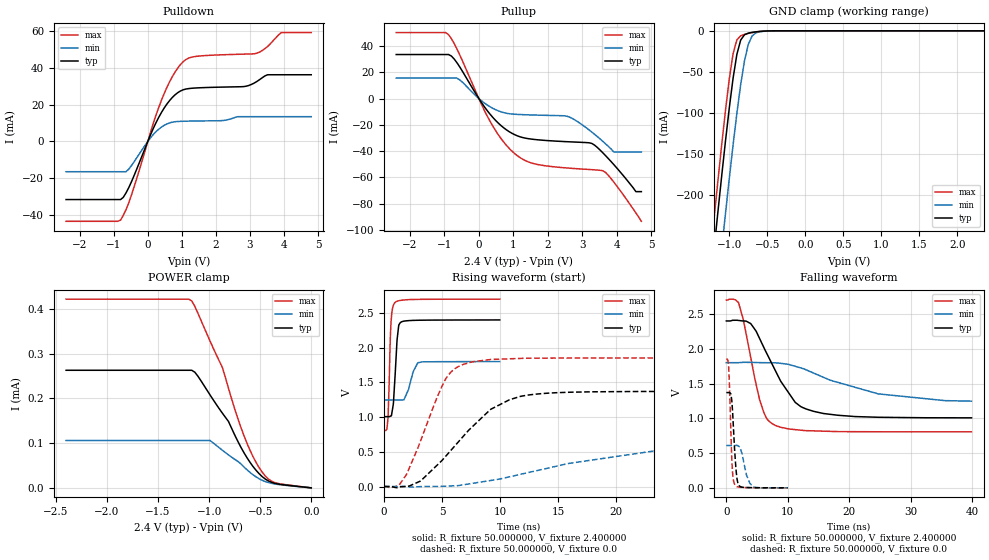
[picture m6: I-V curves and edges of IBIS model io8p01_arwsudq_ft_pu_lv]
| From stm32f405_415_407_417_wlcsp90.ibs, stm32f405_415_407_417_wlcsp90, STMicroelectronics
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|   Model io8p01_arwsudq_ft_pu_lv
[Model]  io8p01_arwsudq_ft_pu_lv
Model_type I/O
Polarity   Non-Inverting
Enable   Active-Low
Vinl =   0.720000V
Vinh =   1.680000V
Vmeas =  1.200000V
Cref =   50.000000pF
Rref =   100.000000M
Vref =   0.0V
C_comp   2.818400pF   2.774300pF   2.917100pF
[Temperature Range]   25.000000   0.125000k   -40.000000
[Pullup Reference]   2.400000V   1.800000V   2.700000V
[Pulldown Reference]   0.0V   0.0V   0.0V
[POWER Clamp Reference]   2.400000V   1.800000V   2.700000V
[GND Clamp Reference]   0.0V   0.0V   0.0V
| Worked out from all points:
|   slope of the pulldown table from 0 to 0.36 V, typ, clamps not added: 25 ohm
|   slope of the pullup table from 0 to 0.36 V, typ, clamps not added: 27.7 ohm
|   GND clamp passes 1 mA (typ) near -0.62 V on its own axis
|   rising waveform, R_fixture 50.000000, V_fixture 2.400000: 20-80 % time 290ps typ, 615ps min, 205ps max; typ from 1.01 V to 2.4 V
|   rising waveform, R_fixture 50.000000, V_fixture 0.0: 20-80 % time 4.71ns typ, 11.9ns min, 2.66ns max; typ from 0.001 V to 1.37 V
|   falling waveform, R_fixture 50.000000, V_fixture 2.400000: 20-80 % time 5.22ns typ, 11.3ns min, 2.74ns max; typ from 2.4 V to 1.01 V
|   falling waveform, R_fixture 50.000000, V_fixture 0.0: 20-80 % time 543ps typ, 1ns min, 410ps max; typ from 1.37 V to 0.001 V
[Pulldown]
|Voltage   I(typ)   I(min)   I(max)
-2.4V     -31.67mA   -16.51mA   -43.52mA
-800mV    -31.67mA   -16.51mA   -42.87mA
-480mV    -21.98mA   -13.17mA   -29.21mA
80mV      3.63mA     1.966mA    5.012mA
480mV     18.16mA    8.738mA    26.02mA
800mV     25.38mA    10.72mA    37.77mA
1.12V     28.53mA    11.02mA    44.6mA
2.8V      29.84mA    13.46mA    47.53mA
3.2V      32.6mA     13.46mA    48.03mA
3.52V     36.31mA    13.46mA    51.75mA
3.92V     36.31mA    13.46mA    59.29mA
4.8V      36.31mA    13.46mA    59.29mA
[Pullup]
|Voltage   I(typ)   I(min)   I(max)
-2.4V     33.5mA     15.56mA    50.23mA
-960mV    33.5mA     15.56mA    50.23mA
-560mV    24.27mA    14.3mA     33.51mA
320mV     -11.75mA   -6.207mA   -17.08mA
960mV     -26.47mA   -11.82mA   -40.02mA
1.52V     -30.88mA   -12.51mA   -49.05mA
2.56V     -32.88mA   -13.48mA   -52.9mA
3.28V     -34.19mA   -25.52mA   -54.17mA
3.6V      -41.32mA   -32.62mA   -54.98mA
3.92V     -50.33mA   -40.7mA    -63.65mA
4.56V     -70.9mA    -40.7mA    -87.11mA
4.72V     -70.9mA    -40.7mA    -93.5mA
[GND_clamp]
|Voltage   I(typ)   I(min)   I(max)
-2.4V     -1.425A    -1.509A    -1.395A
-1.25V    -311.8mA   -402mA     -274.5mA
-1.2V     -266mA     -356.2mA   -228.4mA
-1.15V    -220.9mA   -310.9mA   -183.1mA
-1.1V     -176.9mA   -266.3mA   -139mA
-1.05V    -134.3mA   -222.6mA   -97.01mA
-950mV    -57.81mA   -139.1mA   -27.86mA
-900mV    -28.73mA   -100.5mA   -11.04mA
-850mV    -11.29mA   -65.69mA   -6.054mA
-750mV    -2.852mA   -16.6mA    -3.179mA
-600mV    -750uA     -1.167mA   -738.5uA
2.35V     0A         0A         0A
[POWER_clamp]
|Voltage   I(typ)   I(min)   I(max)
-2.4V     263.2uA    106uA      422.4uA
-1.17V    263.2uA    106uA      418.5uA
-1.11V    250.1uA    106uA      391.1uA
-990mV    207.7uA    106uA      328.2uA
-870mV    167.2uA    84.17uA    269.6uA
-810mV    148.5uA    73.71uA    222.7uA
-660mV    79.21uA    47.09uA    117.6uA
-570mV    47.82uA    29.3uA     69.9uA
-510mV    31.66uA    20.4uA     45.18uA
-420mV    15.55uA    11.87uA    19.89uA
-360mV    10.34uA    8.845uA    12.09uA
0V        0A         0A         0A
[Ramp]
| variable   typ   min   max
dV/dt_r  0.82207/4.70989n   0.36536/11.91797n   1.11094/2.65517n
dV/dt_f  0.83604/5.22012n   0.32160/11.57067n   1.13651/2.74028n
R_load = 50.000000
[Rising Waveform]
R_fixture= 50.000000
V_fixture= 2.400000
V_fixture_min= 1.800000
V_fixture_max= 2.700000
|time   V(typ)   V(min)   V(max)
0s        1.007V     1.247V     805.8mV
340.3ps   1.007V     1.247V     975.4mV
600.6ps   1.017V     1.247V     2.337V
800.8ps   1.18V      1.247V     2.605V
961ps     1.604V     1.247V     2.653V
1.121ns   2.093V     1.247V     2.669V
1.261ns   2.305V     1.247V     2.676V
1.502ns   2.371V     1.247V     2.683V
2.923ns   2.395V     1.783V     2.696V
9.97ns    2.4V       1.8V       2.7V
[Rising Waveform]
R_fixture= 50.000000
V_fixture= 0.0
V_fixture_min= 0.0
V_fixture_max= 0.0
|time   V(typ)   V(min)   V(max)
0s        1.06mV     913.5uV    1.424mV
1.281ns   -8.248mV   1.007mV    20.35mV
1.922ns   3.767mV    -1.541mV   168.6mV
3.123ns   77.93mV    -442.3uV   645.2mV
5.205ns   415.5mV    5.78mV     1.518V
6.887ns   734.4mV    26.97mV    1.763V
9.209ns   1.114V     88.46mV    1.831V
12.57ns   1.322V     207.4mV    1.849V
24.5ns    1.37V      542.7mV    1.853V
39.88ns   1.371V     610.2mV    1.852V
[Falling Waveform]
R_fixture= 50.000000
V_fixture= 2.400000
V_fixture_min= 1.800000
V_fixture_max= 2.700000
|time   V(typ)   V(min)   V(max)
0s        2.4V       1.8V       2.7V
2.002ns   2.407V     1.801V     2.659V
4.004ns   2.358V     1.805V     1.86V
5.445ns   2.141V     1.801V     1.26V
6.486ns   1.949V     1.8V       1.011V
7.688ns   1.737V     1.799V     911.4mV
11.21ns   1.229V     1.748V     838mV
14.17ns   1.102V     1.652V     820.1mV
24.74ns   1.016V     1.351V     807.1mV
39.88ns   1.007V     1.247V     805.8mV
[Falling Waveform]
R_fixture= 50.000000
V_fixture= 0.0
V_fixture_min= 0.0
V_fixture_max= 0.0
|time   V(typ)   V(min)   V(max)
0s        1.371V     610.2mV    1.852V
380.4ps   1.371V     610.2mV    1.729V
880.9ps   1.264V     610mV      439.8mV
1.081ns   989.9mV    609.7mV    158mV
1.361ns   529mV      609.9mV    50.67mV
1.722ns   140.4mV    612mV      19.11mV
2.202ns   23.36mV    586.1mV    9.845mV
3.303ns   5.69mV     177.7mV    4.88mV
4.505ns   3.702mV    10.25mV    2.484mV
9.97ns    1.06mV     913.5uV    1.424mV
